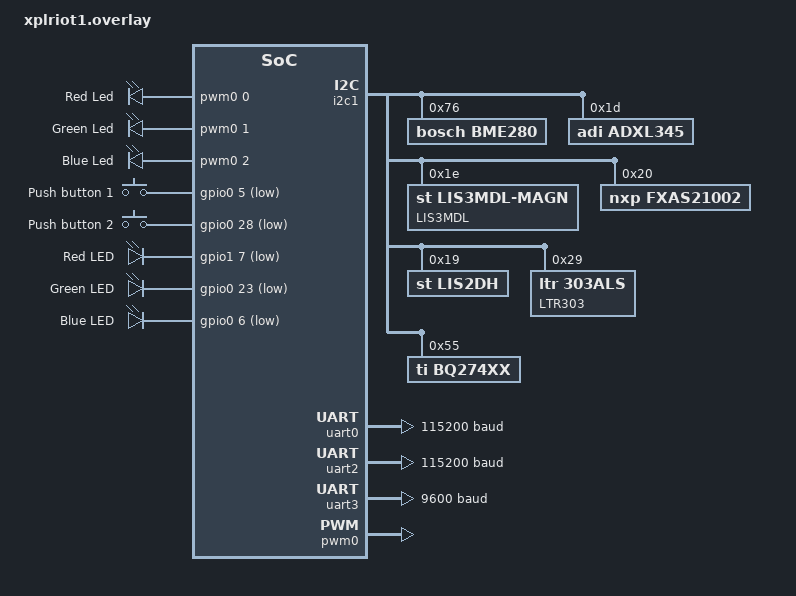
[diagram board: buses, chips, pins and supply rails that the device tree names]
/*
Ovelay file for the U-blox XPLR-IOT-1 board
based on the Nordic nrf53dk board
 */

#include "xplriot1-pinctrl.dtsi"

// I2C and the board sensors
&i2c1 {
	compatible = "nordic,nrf-twim";
	status = "okay";
	pinctrl-0 = <&i2c1_default>;
	pinctrl-1 = <&i2c1_sleep>;
	pinctrl-names = "default", "sleep";

	bme280@76 {
		compatible = "bosch,bme280";
		reg = <0x76>;
		label = "BME280";
	};

	adxl345@1d {
		compatible = "adi,adxl345";
		reg = <0x1d>;
		label = "ADXL345";
	};

	lis3mdl@1e {
		compatible = "st,lis3mdl-magn";
		reg = <0x1e>;
		label = "LIS3MDL";
	};

	fxas21002@20 {
		compatible = "nxp,fxas21002";
		reg = <0x20>;
		label = "FXAS21002";
	};

	lis2dh@19 {
		compatible = "st,lis2dh";
		reg = <0x19>;
		label = "LIS2DH";
	};

	ltr303: ltr303@29 {
		compatible = "ltr,303als";
		reg = <0x29>;
		label = "LTR303";
	};

	bq27421@55 {
		compatible = "ti,bq274xx";
		label = "BQ274XX";
		reg = <0x55>;
		design-voltage = <3700>;
		design-capacity = <1200>;
		taper-current = <45>;
		terminate-voltage = <3000>;
	};
};


// Console uart
&uart0 {
	status = "okay";
	current-speed = <115200>;
	pinctrl-0 = <&uart0_default>;
	pinctrl-1 = <&uart0_sleep>;
	pinctrl-names = "default", "sleep";
};

// SARA-R5 uart. Only available when i2c is not used
&uart1 {
	status = "disabled";
	current-speed = <115200>;
	pinctrl-0 = <&uart1_default>;
	pinctrl-1 = <&uart1_sleep>;
	pinctrl-names = "default", "sleep";
	hw-flow-control;
};

// Nina W15 uart, shared with Sara-R5 when i2c is used
&uart2 {
	status = "okay";
	current-speed = <115200>;
	pinctrl-0 = <&uart2_default>;
	pinctrl-1 = <&uart2_sleep>;
	pinctrl-names = "default", "sleep";
	hw-flow-control;
};

// MaxM10S uart
&uart3 {
	status = "okay";
	current-speed = <9600>;
	pinctrl-0 = <&uart3_default>;
	pinctrl-1 = <&uart3_sleep>;
	pinctrl-names = "default", "sleep";
};

// Buttons
&button0 {
	gpios = <&gpio0 5 (GPIO_PULL_UP | GPIO_ACTIVE_LOW)>;
	label = "Push button 1";
};

&button1 {
	gpios = <&gpio0 28 (GPIO_PULL_UP | GPIO_ACTIVE_LOW)>;
	label = "Push button 2";
};

// PWM for Led control brightness
&pwm0 {
	status = "okay";
	pinctrl-0 = <&pwm0_default>;
	pinctrl-1 = <&pwm0_sleep>;
	pinctrl-names = "default", "sleep";
};

&led0 {
	gpios = <&gpio1 7 GPIO_ACTIVE_LOW>;
	label = "Red LED";
};

&led1 {
	gpios = <&gpio0 23 GPIO_ACTIVE_LOW>;
	label = "Green LED";
};

&led2 {
	gpios = <&gpio0 6 GPIO_ACTIVE_LOW>;
	label = "Blue LED";
};

// Leds at PWM channels
/{
	pwmleds {
		compatible = "pwm-leds";

		pwm_led0: pwm_led_0 {
			pwms = <&pwm0 0 PWM_MSEC(20) PWM_POLARITY_INVERTED>;
			label = "Red Led";
		};

		pwm_led1: pwm_led_1 {
			pwms = <&pwm0 1 PWM_MSEC(20) PWM_POLARITY_INVERTED>;
			label = "Green Led";
		};

		pwm_led2: pwm_led_2 {
			pwms = <&pwm0 2 PWM_MSEC(20) PWM_POLARITY_INVERTED>;
			label = "Blue Led";
		};

	};
};
